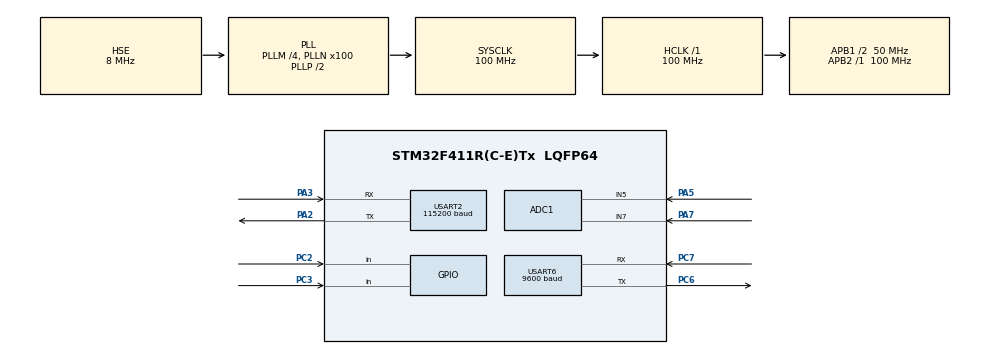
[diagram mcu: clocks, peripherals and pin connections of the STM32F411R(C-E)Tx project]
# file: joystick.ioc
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ADC1.Channel-0\#ChannelRegularConversion=ADC_CHANNEL_7
ADC1.Channel-1\#ChannelRegularConversion=ADC_CHANNEL_5
ADC1.ContinuousConvMode=ENABLE
ADC1.DMAContinuousRequests=ENABLE
ADC1.NbrOfConversion=2
ADC1.NbrOfConversionFlag=1
ADC1.Rank-0\#ChannelRegularConversion=1
ADC1.Rank-1\#ChannelRegularConversion=2
ADC1.SamplingTime-0\#ChannelRegularConversion=ADC_SAMPLETIME_112CYCLES
ADC1.SamplingTime-1\#ChannelRegularConversion=ADC_SAMPLETIME_112CYCLES
ADC1.ScanConvMode=ENABLE
ADC1.master=1
Dma.ADC1.0.Direction=DMA_PERIPH_TO_MEMORY
Dma.ADC1.0.FIFOMode=DMA_FIFOMODE_DISABLE
Dma.ADC1.0.Instance=DMA2_Stream0
Dma.ADC1.0.MemDataAlignment=DMA_MDATAALIGN_HALFWORD
Dma.ADC1.0.MemInc=DMA_MINC_ENABLE
Dma.ADC1.0.Mode=DMA_CIRCULAR
Dma.ADC1.0.PeriphDataAlignment=DMA_PDATAALIGN_HALFWORD
Dma.ADC1.0.PeriphInc=DMA_PINC_DISABLE
Dma.ADC1.0.Priority=DMA_PRIORITY_LOW
Dma.Request0=ADC1
Mcu.Family=STM32F4
Mcu.Name=STM32F411R(C-E)Tx
Mcu.Package=LQFP64
NVIC.DMA2_Stream0_IRQn=true\:0\:0\:false\:false\:true\:false\:true\:true
NVIC.PriorityGroup=NVIC_PRIORITYGROUP_4
PA13.Mode=Serial_Wire
PA13.Signal=SYS_JTMS-SWDIO
PA14.Mode=Serial_Wire
PA14.Signal=SYS_JTCK-SWCLK
PA2.Mode=Asynchronous
PA2.Signal=USART2_TX
PA3.Mode=Asynchronous
PA3.Signal=USART2_RX
PA5.Signal=ADCx_IN5
PA7.Signal=ADCx_IN7
PC2.GPIO_PuPd=GPIO_PULLDOWN
PC2.Signal=GPIO_Input
PC3.GPIO_PuPd=GPIO_PULLDOWN
PC3.Signal=GPIO_Input
PC6.Mode=Asynchronous
PC6.Signal=USART6_TX
PC7.Mode=Asynchronous
PC7.Signal=USART6_RX
PH0\ -\ OSC_IN.Mode=HSE-External-Oscillator
PH0\ -\ OSC_IN.Signal=RCC_OSC_IN
PH1\ -\ OSC_OUT.Mode=HSE-External-Oscillator
PH1\ -\ OSC_OUT.Signal=RCC_OSC_OUT
ProjectManager.HeapSize=0x200
ProjectManager.StackSize=0x400
ProjectManager.TargetToolchain=STM32CubeIDE
RCC.48MHZClocksFreq_Value=50000000
RCC.AHBFreq_Value=100000000
RCC.APB1CLKDivider=RCC_HCLK_DIV2
RCC.APB1Freq_Value=50000000
RCC.APB1TimFreq_Value=100000000
RCC.APB2Freq_Value=100000000
RCC.APB2TimFreq_Value=100000000
RCC.CortexFreq_Value=100000000
RCC.HCLKFreq_Value=100000000
RCC.HSE_VALUE=8000000
RCC.HSI_VALUE=16000000
RCC.LSE_VALUE=32768
RCC.PLLM=4
RCC.PLLN=100
RCC.PLLSourceVirtual=RCC_PLLSOURCE_HSE
RCC.SYSCLKFreq_VALUE=100000000
RCC.SYSCLKSource=RCC_SYSCLKSOURCE_PLLCLK
RCC.VCOOutputFreq_Value=200000000
SH.ADCx_IN5.0=ADC1_IN5,IN5
SH.ADCx_IN7.0=ADC1_IN7,IN7
USART2.BaudRate=115200
USART2.VirtualMode=VM_ASYNC
USART6.BaudRate=9600
USART6.VirtualMode=VM_ASYNC
board=custom

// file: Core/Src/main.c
/* USER CODE BEGIN Header */
/**
  ******************************************************************************
  * @file           : main.c
  * @brief          : Main program body
  ******************************************************************************
  * @attention
  *
  * Copyright (c) 2024 STMicroelectronics.
  * All rights reserved.
  *
  * This software is licensed under terms that can be found in the LICENSE file
  * in the root directory of this software component.
  * If no LICENSE file comes with this software, it is provided AS-IS.
  *
  ******************************************************************************
  */
/* USER CODE END Header */
#include "main.h"
#include "adc.h"
#include "dma.h"
#include "usart.h"
#include "gpio.h"

/* USER CODE BEGIN Includes */
#include <stdio.h>
/* USER CODE END Includes */

/* USER CODE BEGIN PV */

volatile uint16_t adcValue[2];
uint8_t ty;
uint8_t debounceState;
uint32_t debounceTime = 0;
uint8_t readbutton;
uint8_t autoflag = 0;
/* USER CODE END PV */

void SystemClock_Config(void);

int main(void)
{

  /* MCU Configuration--------------------------------------------------------*/

  /* Reset of all peripherals, Initializes the Flash interface and the Systick. */
  HAL_Init();

  /* Configure the system clock */
  SystemClock_Config();

  /* Initialize all configured peripherals */
  MX_GPIO_Init();
  MX_DMA_Init();
  MX_ADC1_Init();
  MX_USART2_UART_Init();
  MX_USART6_UART_Init();
  /* USER CODE BEGIN 2 */
  HAL_ADC_Start_DMA(&hadc1, adcValue, 2);

  /* USER CODE END 2 */

  /* Infinite loop */
  /* USER CODE BEGIN WHILE */
  while (1)
  {
	  readbutton = HAL_GPIO_ReadPin(GPIOC, GPIO_PIN_3);
	  switch(debounceState)
	      {
	  case 0:
	      if(HAL_GPIO_ReadPin(GPIOC, GPIO_PIN_2))
	      {
	          debounceState = 1;
	          debounceTime = HAL_GetTick();
	      }
	      break;
	  case 1:
	      if(!HAL_GPIO_ReadPin(GPIOC, GPIO_PIN_2))
	      {
	          debounceState = 0;
	          break;
	      }
	      if(HAL_GetTick() - debounceTime >= 100)
	      {
	    	  if(autoflag == 1){
	    		  autoflag = 0;
	    	  }
	    	  else{
	    		  autoflag = 1;
	    	  }
	          debounceState = 0;
	      }
	      break;
	      }

//	  if (HAL_GPIO_ReadPin(GPIOD, GPIO_PIN_2)==1) ty = 'j';
	  if (autoflag==1) ty = 'i';
	  else if (readbutton==1) ty = 'j';
	  else if (readbutton==0 && autoflag==0){
	  if (adcValue[0]>3000 && 1000<adcValue[1] && adcValue[1]<3000) ty = 'a';
	  else if (adcValue[0]>3000 && adcValue[1]>3000) ty = 'e';
	  else if (adcValue[0]>3000 && adcValue[1]<1500) ty = 'f';
	  else if (adcValue[0]<1000 && 1000<adcValue[1] && adcValue[1]<3000) ty = 'b';
	  else if (adcValue[0]<1000 && adcValue[1]>3000) ty = 'g';
	  else if (adcValue[0]<1000 && adcValue[1]<1500) ty = 'h';
	  else if (1000<adcValue[0] && adcValue[0]<3000 && adcValue[1]<1000) ty = 'c';
	  else if (1000<adcValue[0] && adcValue[0]<3000 && adcValue[1]>3000) ty = 'd';
	  else if (1000<adcValue[0] && adcValue[0]<3000 && 1000<adcValue[1] && adcValue[1]<3000) ty = 's';
	  }
	  HAL_UART_Transmit(&huart6, &ty, sizeof(ty), 20);
	  //txData = (adcValue[0]>>10) + ((adcValue[1]>>10)<<4)
    /* USER CODE END WHILE */

  }
}

void SystemClock_Config(void)
{
  RCC_OscInitTypeDef RCC_OscInitStruct = {0};
  RCC_ClkInitTypeDef RCC_ClkInitStruct = {0};

  /** Configure the main internal regulator output voltage
  */
  __HAL_RCC_PWR_CLK_ENABLE();
  __HAL_PWR_VOLTAGESCALING_CONFIG(PWR_REGULATOR_VOLTAGE_SCALE1);

  /** Initializes the RCC Oscillators according to the specified parameters
  * in the RCC_OscInitTypeDef structure.
  */
  RCC_OscInitStruct.OscillatorType = RCC_OSCILLATORTYPE_HSE;
  RCC_OscInitStruct.HSEState = RCC_HSE_ON;
  RCC_OscInitStruct.PLL.PLLState = RCC_PLL_ON;
  RCC_OscInitStruct.PLL.PLLSource = RCC_PLLSOURCE_HSE;
  RCC_OscInitStruct.PLL.PLLM = 4;
  RCC_OscInitStruct.PLL.PLLN = 100;
  RCC_OscInitStruct.PLL.PLLP = RCC_PLLP_DIV2;
  RCC_OscInitStruct.PLL.PLLQ = 4;
  if (HAL_RCC_OscConfig(&RCC_OscInitStruct) != HAL_OK)
  {
    Error_Handler();
  }

  /** Initializes the CPU, AHB and APB buses clocks
  */
  RCC_ClkInitStruct.ClockType = RCC_CLOCKTYPE_HCLK|RCC_CLOCKTYPE_SYSCLK
                              |RCC_CLOCKTYPE_PCLK1|RCC_CLOCKTYPE_PCLK2;
  RCC_ClkInitStruct.SYSCLKSource = RCC_SYSCLKSOURCE_PLLCLK;
  RCC_ClkInitStruct.AHBCLKDivider = RCC_SYSCLK_DIV1;
  RCC_ClkInitStruct.APB1CLKDivider = RCC_HCLK_DIV2;
  RCC_ClkInitStruct.APB2CLKDivider = RCC_HCLK_DIV1;

  if (HAL_RCC_ClockConfig(&RCC_ClkInitStruct, FLASH_LATENCY_3) != HAL_OK)
  {
    Error_Handler();
  }
}

void Error_Handler(void)
{
  __disable_irq();
  while (1)
  {
  }
}
